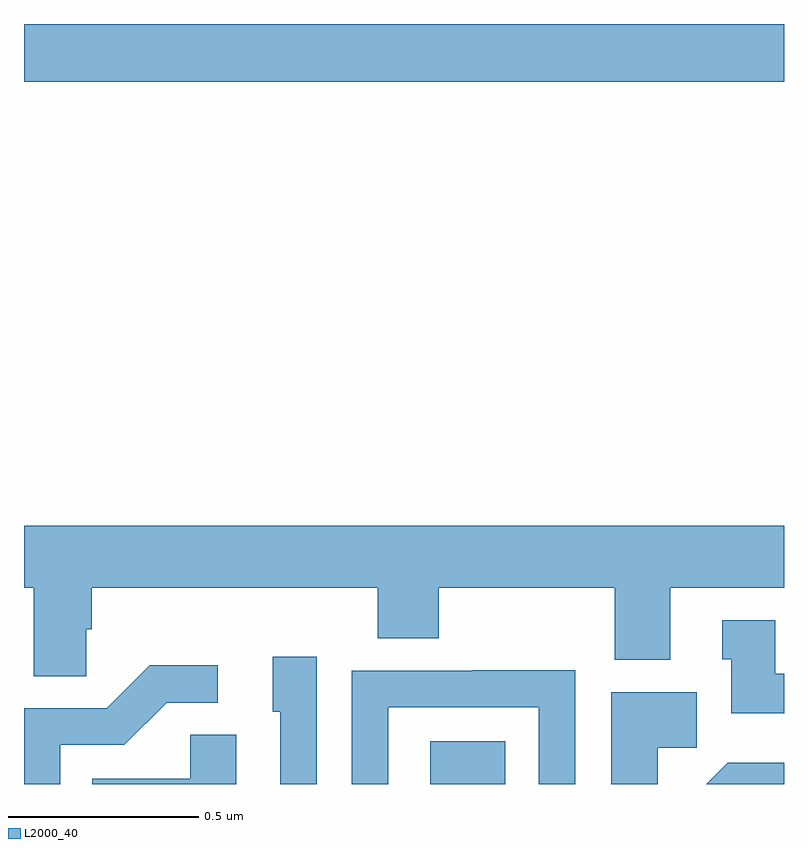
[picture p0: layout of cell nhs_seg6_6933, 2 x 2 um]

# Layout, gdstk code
import gdstk
lib = gdstk.Library(unit=1e-6, precision=1e-09)
def R(c, l, rs):  # rectangles x0, y0, x1, y1
    for r in rs: c.add(gdstk.rectangle(r[:2], r[2:], *l))
def P(c, l, *ps):  # polygons
    for p in ps: c.add(gdstk.Polygon(p, *l))
L2000_40 = (2000, 40)

nhs_seg6_6933 = lib.new_cell('nhs_seg6_6933')
R(nhs_seg6_6933, L2000_40, [(203.069,933.5,203.266,933.613), (202,935.348,204,935.5)])
P(nhs_seg6_6933, L2000_40, [(202.164,933.907),(202.178,933.907),(202.178,934.016),(202.931,934.016),(202.931,933.883),(203.091,933.883),(203.091,934.016),(203.554,934.016),(203.554,933.827),(203.701,933.827),(203.701,934.016),(204,934.016),(204,934.18),(202,934.18),(202,934.016),(202.025,934.016),(202.025,933.784),(202.164,933.784)],
  [(204,933.79),(203.977,933.79),(203.977,933.931),(203.837,933.931),(203.837,933.828),(203.861,933.828),(203.861,933.686),(204,933.686)],
  [(202.77,933.835),(202.655,933.835),(202.655,933.69),(202.674,933.69),(202.674,933.5),(202.77,933.5)],
  [(202.095,933.603),(202.264,933.603),(202.375,933.714),(202.51,933.714),(202.51,933.812),(202.331,933.812),(202.218,933.699),(202,933.699),(202,933.5),(202.095,933.5)],
  [(202.959,933.702),(203.355,933.702),(203.355,933.5),(203.451,933.5),(203.451,933.8),(203.179,933.8),(203.179,933.798),(202.863,933.798),(202.863,933.5),(202.959,933.5)],
  [(203.668,933.595),(203.77,933.595),(203.77,933.742),(203.546,933.742),(203.546,933.5),(203.668,933.5)],
  [(202.558,933.629),(202.437,933.629),(202.437,933.514),(202.18,933.514),(202.18,933.5),(202.558,933.5)],
  [(204,933.556),(203.852,933.556),(203.796,933.5),(204,933.5)])

lib.write_gds('nhs_seg6_6933.gds')
